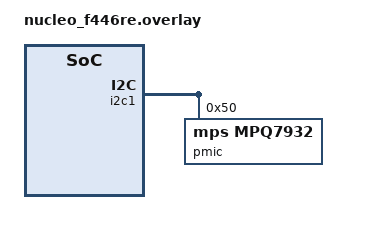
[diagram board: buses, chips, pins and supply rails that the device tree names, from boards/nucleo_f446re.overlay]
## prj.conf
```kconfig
# nothing here
CONFIG_SERIAL=y
CONFIG_UART_ASYNC_API=y
CONFIG_DMA=y
CONFIG_SHELL=y
CONFIG_UART_INTERRUPT_DRIVEN=y
#CONFIG_SHELL_BACKEND_SERIAL=y
```

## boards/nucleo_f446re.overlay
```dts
&i2c1{
 status="okay";
pmic: pmic@50 {
	compatible = "mps,mpq7932";
	reg =<0x50>;
	status="okay";
};
};
	
```

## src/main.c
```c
/*
 * Copyright (c) 2012-2014 Wind River Systems, Inc.
 *
 * SPDX-License-Identifier: Apache-2.0
 */

#include <stdio.h>
#include <stdint.h>
#include <zephyr/device.h>
#include <zephyr/devicetree.h>

int main(void)
{
	printf("Hello World! %s\n", CONFIG_BOARD_TARGET);
	uint32_t reset_vec = *(volatile uint32_t *)
                        (DT_REG_ADDR(DT_NODELABEL(flash_m7_1)) + 4);
	printf("reset_vec = %x\n", reset_vec);


	return 0;
}
```

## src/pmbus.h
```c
/* pmbus_multipage.h - PMBus multi-page control for Zephyr using I2C/SMBus */

#ifndef PMBUS_MULTIPAGE_H
#define PMBUS_MULTIPAGE_H

#include <zephyr/kernel.h>
#include <zephyr/device.h>
#include <zephyr/drivers/i2c.h>

/* PMBus Standard Registers */
#define PMBUS_PAGE            0x00
#define PMBUS_OPERATION       0x01
#define PMBUS_CLEAR_FAULTS    0x03
#define PMBUS_VOUT_COMMAND    0x21
#define PMBUS_READ_VOUT       0x8B

/* MPQ7932-Specific Constants */
#define MPQ7932_NUM_PAGES     6
#define MPQ7932_VOUT_SCALE    160
#define MPQ7932_VOUT_OFFSET   (-33)

/**
 * @brief Selects a PMBus page
 * @param dev I2C device pointer
 * @param addr PMBus device address
 * @param page Page number (0 to 5 for MPQ7932)
 * @return 0 on success, negative errno on failure
 */
static inline int pmbus_select_page(const struct device *dev, uint8_t addr, uint8_t page) {
    uint8_t buf[2] = {PMBUS_PAGE, page};
    return i2c_write(dev, buf, sizeof(buf), addr);
}

/**
 * @brief Sets output voltage for a PMBus page
 * @param dev I2C device pointer
 * @param addr PMBus device address
 * @param page Page number (0-5)
 * @param millivolts Desired voltage (e.g., 1200 for 1.2V)
 * @return 0 on success, error code on failure
 */
static inline int pmbus_set_voltage(const struct device *dev, uint8_t addr, 
                                  uint8_t page, uint16_t millivolts) {
    int ret;
    uint8_t vout_cmd = (millivolts - MPQ7932_VOUT_OFFSET) / MPQ7932_VOUT_SCALE;
    uint8_t buf[2] = {PMBUS_VOUT_COMMAND, vout_cmd};

    if ((ret = pmbus_select_page(dev, addr, page)) < 0) {
        return ret;
    }
    return i2c_write(dev, buf, sizeof(buf), addr);
}

/**
 * @brief Reads output voltage from a PMBus page
 * @param dev I2C device pointer
 * @param addr PMBus device address
 * @param page Page number (0-5)
 * @return Voltage in mV (negative if error)
 */
static inline int pmbus_read_voltage(const struct device *dev, 
                                    uint8_t addr, uint8_t page) {
    int ret;
    uint8_t vout_raw;
    uint8_t reg = PMBUS_READ_VOUT;

    if ((ret = pmbus_select_page(dev, addr, page)) < 0) {
        return ret;
    }
    
    if ((ret = i2c_write_read(dev, addr, &reg, sizeof(reg), 
                             &vout_raw, sizeof(vout_raw))) < 0) {
        return ret;
    }
    
    return (MPQ7932_VOUT_SCALE * vout_raw) + MPQ7932_VOUT_OFFSET;
}

/**
 * @brief Clears faults on all PMBus pages
 * @param dev I2C device pointer
 * @param addr PMBus device address
 * @return 0 on success, error code on failure
 */
static inline int pmbus_clear_faults(const struct device *dev, uint8_t addr) {
    uint8_t cmd = PMBUS_CLEAR_FAULTS;
    return i2c_write(dev, &cmd, sizeof(cmd), addr);
}

/**
 * @brief Enables power output on a PMBus page
 * @param dev I2C device pointer
 * @param addr PMBus device address
 * @param page Page number (0-5)
 * @return 0 on success, error code on failure
 */
static inline int pmbus_enable_output(const struct device *dev, 
                                    uint8_t addr, uint8_t page) {
    uint8_t buf[2] = {PMBUS_OPERATION, 0x80}; /* Control ON */
    int ret;
    
    if ((ret = pmbus_select_page(dev, addr, page)) < 0) {
        return ret;
    }
    return i2c_write(dev, buf, sizeof(buf), addr);
}

#endif /* PMBUS_MULTIPAGE_H */
```
